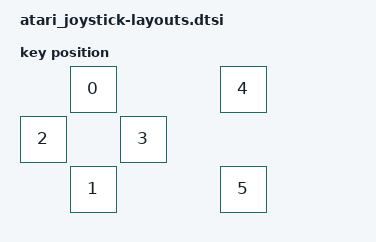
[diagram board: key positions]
#include <physical_layouts.dtsi>

/ {
    atari_layout: physical_layout_0 {
        compatible = "zmk,physical-layout";
        display-name = "Atari Joystick";

        keys  //                     w   h    x    y   rot   rx   ry
            = <&key_physical_attrs 100 100  100    0     0    0    0>  // UP
            , <&key_physical_attrs 100 100  100  200     0    0    0>  // DOWN
            , <&key_physical_attrs 100 100    0  100     0    0    0>  // LEFT
            , <&key_physical_attrs 100 100  200  100     0    0    0>  // RIGHT
            , <&key_physical_attrs 100 100  400    0     0    0    0>  // FIRE
            , <&key_physical_attrs 100 100  400  200     0    0    0>  // FN
            ;
    };
};
